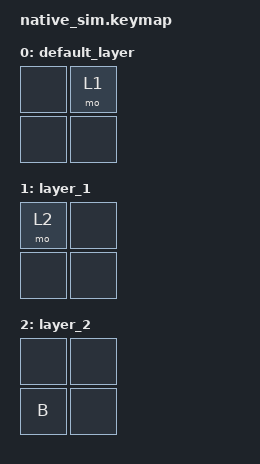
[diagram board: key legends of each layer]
#include <dt-bindings/zmk/keys.h>
#include <behaviors.dtsi>
#include <dt-bindings/zmk/input_mock.h>

/ {
    keymap {
        compatible = "zmk,keymap";

        default_layer {
            bindings = <
                &none &mo 1
                &none &none>;
        };

        layer_1 {
            bindings = <
                &mo 2 &none
                &none &none>;
        };

        layer_2 {
            bindings = <
                &none &none
                &kp B &none>;
        };
    };
};

&mock_input {
    events = <
        ZMK_INPUT_MOCK_PRESS(0,1,10)
        ZMK_INPUT_MOCK_PRESS(0,0,10)
        ZMK_INPUT_MOCK_PRESS(1,0,10)
        ZMK_INPUT_MOCK_RELEASE(1,0,10)
        ZMK_INPUT_MOCK_RELEASE(0,0,10)
        ZMK_INPUT_MOCK_RELEASE(0,1,10)
    >;
};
